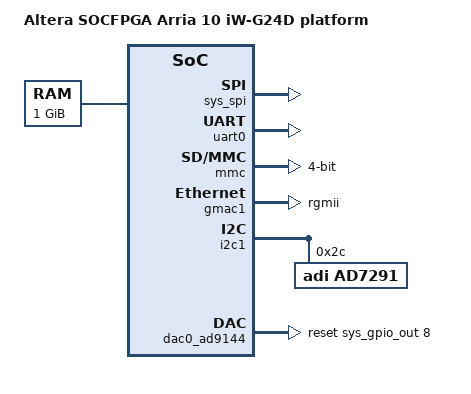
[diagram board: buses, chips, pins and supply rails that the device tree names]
/dts-v1/;
#include "socfpga_arria10.dtsi"

/ {
	model = "Altera SOCFPGA Arria 10 iW-G24D platform";
	compatible = "altr,socfpga-arria10", "altr,socfpga";

	chosen {
		bootargs = "earlyprintk";
		stdout-path = "serial0:115200n8";
	};

	memory {
		name = "memory";
		device_type = "memory";
		reg = <0x0 0x40000000>; /* 1GB */
	};

	aliases {
		ethernet0 = &gmac1;
		serial0 = &uart0;
	};

	clocks {
		sys_clk: sys_clk {
			#clock-cells = <0>;
			compatible = "fixed-clock";
			clock-frequency = <100000000>;
			clock-output-names = "system_clock";
		};

		dma_clk: dma_clk {
			#clock-cells = <0>;
			compatible = "fixed-clock";
			clock-frequency = <166666667>;
			clock-output-names = "dma_clock";
		};
	};

	soc {
		clkmgr@ffd04000 {
			clocks {
				osc1 {
					clock-frequency = <25000000>;
				};
			};
		};

		sys_hps_bridges: bridge@ff200000 {
			compatible = "altr,bridge-16.0", "simple-bus";
			reg = <0xff200000 0x00200000>;
			#address-cells = <1>;
			#size-cells = <1>;
			ranges = <0x00000000 0xff200000 0x00200000>;

			sys_gpio_in: sys-gpio-in@0 {
				compatible = "altr,pio-16.0", "altr,pio-1.0";
				reg = <0x00 0x10>;
				#gpio-cells = <2>;
				gpio-controller;
			};

			sys_gpio_out: sys-gpio-out@20 {
				compatible = "altr,pio-16.0", "altr,pio-1.0";
				reg = <0x20 0x10>;
				#gpio-cells = <2>;
				gpio-controller;
			};

			sys_spi: spi@40 {
				compatible = "altr,spi-16.0", "altr,spi-1.0";
				reg = <0x40 0x20>;
				interrupt-parent = <&intc>;
				interrupts = <0 26 4>;
				#address-cells = <0x1>;
				#size-cells = <0x0>;
			};

			rx_dma: rx-dmac@4c000 {
				compatible = "adi,axi-dmac-1.00.a";
				reg = <0x4c000 0x4000>;
				#dma-cells = <1>;
				interrupt-parent = <&intc>;
				interrupts = <0 29 0>;
				clocks = <&dma_clk>;

				dma-channel {
					adi,source-bus-width = <128>;
					adi,destination-bus-width = <128>;
					adi,type = <0>;
				};
			};

			tx_dma: tx-dmac@2c000 {
				compatible = "adi,axi-dmac-1.00.a";
				reg = <0x2c000 0x4000>;
				#dma-cells = <1>;
				interrupt-parent = <&intc>;
				interrupts = <0 30 0>;
				clocks = <&dma_clk>;

				dma-channel {
					adi,source-bus-width = <128>;
					adi,destination-bus-width = <128>;
					adi,type = <1>;
					adi,cyclic;
				};
			};

			axi_ad9144_core: axi-ad9144-hpc@34000 {
				compatible = "adi,axi-ad9144-1.0";
				reg = <0x34000 0x4000>;
				dmas = <&tx_dma 0>;
				dma-names = "tx";
				spibus-connected = <&dac0_ad9144>;
				adi,axi-pl-fifo-enable;
				plddrbypass-gpios = <&sys_gpio_out 12 0>;
			};

			axi_ad9144_jesd: axi-jesd204-tx@20000 {
				compatible = "adi,axi-jesd204-tx-1.0";
				reg = <0x20000 0x4000>;

				interrupt-parent = <&intc>;
				interrupts = <0 28 0>;

				clocks = <&sys_clk>, <&tx_device_clk_pll>, <&axi_ad9144_xcvr>;
				clock-names = "s_axi_aclk", "device_clk", "lane_clk";

				adi,octets-per-frame = <1>;
				adi,frames-per-multiframe = <32>;
				adi,converter-resolution = <16>;
				adi,bits-per-sample = <16>;
				adi,converters-per-device = <2>;

				#clock-cells = <0>;
				clock-output-names = "jesd_dac_lane_clk";
			};

			axi_ad9680_core: axi-ad9680-hpc@50000 {
				compatible = "adi,axi-ad9680-1.0";
				reg = <0x50000 0x10000>;
				dmas = <&rx_dma 0>;
				dma-names = "rx";
				spibus-connected = <&adc0_ad9680>;
			};

			axi_ad9680_jesd: axi-jesd204-rx@40000 {
				compatible = "adi,axi-jesd204-rx-1.0";
				reg = <0x40000 0x4000>;

				interrupt-parent = <&intc>;
				interrupts = <0 27 0>;

				clocks = <&sys_clk>, <&rx_device_clk_pll>, <&axi_ad9680_xcvr>;
				clock-names = "s_axi_aclk", "device_clk", "lane_clk";

				adi,octets-per-frame = <1>;
				adi,frames-per-multiframe = <32>;

				#clock-cells = <0>;
				clock-output-names = "jesd_adc_lane_clk";
			};

			axi_ad9144_xcvr: axi-ad9144-xcvr@24000 {
				compatible = "adi,altera-adxcvr-1.00.a";
				reg = <0x24000 0x0001000>,
				      <0x26000 0x1000>,
				      <0x28000 0x1000>,
				      <0x29000 0x1000>,
				      <0x2a000 0x1000>,
				      <0x2b000 0x1000>;
				reg-names = "adxcvr", "atx-pll", "adxcfg-0", "adxcfg-1", "adxcfg-2", "adxcfg-3";

				#clock-cells = <0>;
				clocks = <&clk0_ad9523 9>, <&tx_device_clk_pll>;
				clock-names = "ref", "link";
				clock-output-names = "jesd204_tx_lane_clock";
			};

			axi_ad9680_xcvr: axi-ad9680-xcvr@44000 {
				compatible = "adi,altera-adxcvr-1.00.a";
				reg = <0x44000 0x1000>,
				      <0x48000 0x1000>,
				      <0x49000 0x1000>,
				      <0x4a000 0x1000>,
				      <0x4b000 0x1000>;
				reg-names = "adxcvr", "adxcfg-0", "adxcfg-1", "adxcfg-2", "adxcfg-3";

				#clock-cells = <0>;
				clocks = <&clk0_ad9523 4>, <&rx_device_clk_pll>;
				clock-names = "ref", "link";
				clock-output-names = "jesd204_rx_lane_clock";
			};

			tx_device_clk_pll: altera-a10-fpll@25000 {
				compatible = "altr,a10-fpll";
				reg = <0x25000 0x1000>;
				#clock-cells = <0>;
				clocks = <&clk0_ad9523 9>;
				clock-output-names = "jesd204_tx_link_clock";
			};

			rx_device_clk_pll: altera-a10-fpll@45000 {
				compatible = "altr,a10-fpll";
				reg = <0x45000 0x1000>;
				#clock-cells = <0>;
				clocks = <&clk0_ad9523 4>;
				clock-output-names = "jesd204_rx_link_clock";
			};
		};
	};
};

&uart0 {
	status = "okay";
};

&mmc {
	status = "okay";
	num-slots = <1>;
	cap-sd-highspeed;
	broken-cd;
	bus-width = <4>;
	altr,dw-mshc-ciu-div = <3>;
	altr,dw-mshc-sdr-timing = <0 3>;
};

&gmac1 {
	status = "okay";

	phy-mode = "rgmii";
	phy-addr = <0xffffffff>;

	txd0-skew-ps = <0>;	/* -420ps */
	txd1-skew-ps = <0>;	/* -420ps */
	txd2-skew-ps = <0>;	/* -420ps */
	txd3-skew-ps = <0>;	/* -420ps */
	rxd0-skew-ps = <420>;	/* 0ps */
	rxd1-skew-ps = <420>;	/* 0ps */
	rxd2-skew-ps = <420>;	/* 0ps */
	rxd3-skew-ps = <420>;	/* 0ps */
	txen-skew-ps = <0>;	/* -420ps */
	txc-skew-ps = <1860>;	/* 960ps */
	rxdv-skew-ps = <420>;	/* 0ps */
	rxc-skew-ps = <1680>;	/* 780ps */

	max-frame-size = <3800>;
};

&i2c1 {
	status = "okay";
	speed-mode = <0x0>;

	ad7291@2c {
		compatible = "adi,ad7291";
		reg = <0x2c>;
	};
};

#define fmc_spi sys_spi

#include "adi-daq2.dtsi"

&adc0_ad9680 {
	powerdown-gpios = <&sys_gpio_out 10 0>;
};

&dac0_ad9144 {
	txen-gpios = <&sys_gpio_out 9 0>;
	reset-gpios = <&sys_gpio_out 8 0>;
	irq-gpios = <&sys_gpio_in 2 0>;
};

&clk0_ad9523 {
	adi,pll2-m1-freq = <750000000>;
	sync-gpios = <&sys_gpio_out 6 0>;
	status0-gpios = <&sys_gpio_in 0 0>;
	status1-gpios = <&sys_gpio_in 1 0>;
};

&ad9523_0_c4 {
	adi,channel-divider = <3>;
};

&ad9523_0_c9 {
	adi,channel-divider = <3>;
};
